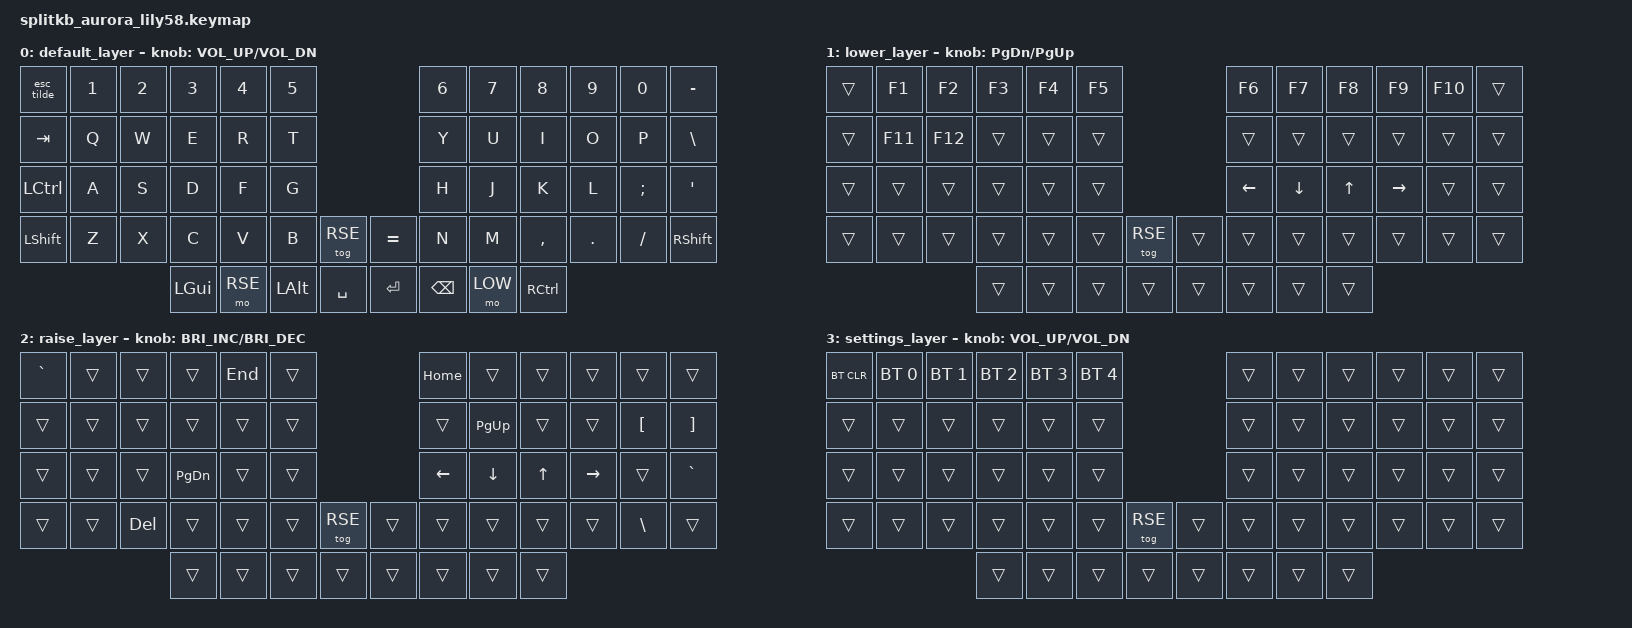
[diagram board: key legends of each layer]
/*
 * Copyright (c) 2020 The ZMK Contributors
 *
 * SPDX-License-Identifier: MIT
 */

#include <behaviors.dtsi>
#include <dt-bindings/zmk/keys.h>
#include <dt-bindings/zmk/bt.h>
#include <dt-bindings/zmk/ext_power.h>

// layers
#define DEF 0
#define LOW 1
#define RSE 2

/ { 
    behaviors {
        esc_tilde: esc_tilde {
            compatible = "zmk,behavior-mod-morph";
            label = "ESC_TILDE";
            #binding-cells = <0>;
            bindings = <&kp ESC>, <&kp TILDE>;
            mods = <(MOD_LSFT|MOD_RSFT)>;
        };
//        bspc_del: bspc_del {
//            compatible = "zmk,behavior-mod-morph";
//            label = "BSPC_DEL";
//            #binding-cells = <0>;
//            bindings = <&kp BSPC>, <&kp DEL>;
//            mods = <(MOD_LALT)>;
//        };
    };

    conditional_layers {
        compatible = "zmk,conditional-layers";
        settings_layer {
            if-layers = <1 2>;
            then-layer = <3>;
        };
    };

    keymap {
        compatible = "zmk,keymap";
        default_layer {
// ------------------------------------------------------------------------------------------------------------
// |ESC/TILDE |  1  |  2  |  3   |  4   |  5   |                   |  6   |  7    |  8    |  9   |   0   |     |
// |  TAB     |  Q  |  W  |  E   |  R   |  T   |                   |  Y   |  U    |  I    |  O   |   P   |     |
// |  SHIFT   |  A  |  S  |  D   |  F   |  G   |                   |  H   |  J    |  K    |  L   |   ;   |     |
// |  CTRL    |  Z  |  X  |  C   |  V   |  B   |   "["  |  |  "]"  |  N   |  M    |  ,    |  .   |   /   |     |
//                        | GUI  | ALT  | SPACE|  RAISE |  | LOWER | ENTER| BSPC  | GUI   |
            bindings = <
&esc_tilde &kp N1 &kp N2 &kp N3   &kp N4    &kp N5                        &kp N6     &kp N7  &kp N8    &kp N9  &kp N0   &kp MINUS
&kp TAB    &kp Q  &kp W  &kp E    &kp R     &kp T                         &kp Y      &kp U   &kp I     &kp O   &kp P    &kp BSLH
&kp LCTRL  &kp A  &kp S  &kp D    &kp F     &kp G                         &kp H      &kp J   &kp K     &kp L   &kp SEMI &kp SQT
&kp LSHFT  &kp Z  &kp X  &kp C    &kp V     &kp B    &tog RSE   &kp EQUAL &kp N      &kp M   &kp COMMA &kp DOT &kp FSLH &kp RSHIFT
                         &kp LGUI &mo RSE   &kp LALT &kp SPACE  &kp RET   &kp BSPC   &mo LOW &kp RCTRL
            >;
            sensor-bindings = <&inc_dec_kp C_VOL_UP C_VOL_DN>;
        };

        lower_layer {
// ------------------------------------------------------------------------------------------------------------
// |      |  F0 |  F2 |  F3  |  F4  |  F5  |                    |  F6  |  F7   |  F8   |  F9  |  F10  |       |
// |      | F10 | F12 |      |      |      |                    |      |       |       |      |       |       |
// |      |     |     |      |      |      |                    |      |       |       |      |       |       |
// |      |     |     |      |      |      |        |  |        |      |       |       |      |       |       |
//                    |      |      |      |        |  |        |      |       |       |
            bindings = <
&trans   &kp F1    &kp F2    &kp F3  &kp F4   &kp F5                    &kp F6    &kp F7   &kp F8   &kp F9    &kp F10   &trans
&trans   &kp F11   &kp F12   &trans  &trans   &trans                    &trans    &trans   &trans   &trans    &trans    &trans
&trans   &trans    &trans    &trans  &trans   &trans                    &kp LEFT  &kp DOWN &kp UP   &kp RIGHT &trans    &trans
&trans   &trans    &trans    &trans  &trans   &trans  &tog RSE &trans   &trans    &trans   &trans   &trans    &trans    &trans
                             &trans  &trans   &trans  &trans   &trans   &trans    &trans   &trans
            >;
            sensor-bindings = <&inc_dec_kp PG_DN PG_UP>;
        };

        raise_layer {
// ------------------------------------------------------------------------------------------------------------
// |       |     |     |      |      |      |                   |      |       |       |      |       |       |
// |       |     |     |      |      |      |                   |      |       |       |      |       |       |
// |       |     |     |      |      |      |                   |  <-  |   v   |   ^   |  ->  |       |       |
// |       |     |     |      |      |      |        |  |       |      |       |       |      |       |       |
//                     |      |      |      |        |  |       |      |       |       |
            bindings = <
&kp GRAVE &trans  &trans  &trans    &kp END &trans                     &kp HOME   &trans    &trans    &trans    &trans    &trans 
&trans    &trans  &trans  &trans    &trans  &trans                     &trans     &kp PG_UP &trans    &trans    &kp LBKT  &kp RBKT 
&trans    &trans  &trans  &kp PG_DN &trans  &trans                     &kp LEFT   &kp DOWN  &kp UP    &kp RIGHT &trans    &kp GRAVE
&trans    &trans  &kp DEL &trans    &trans  &trans  &tog RSE &trans    &trans     &trans    &trans    &trans    &kp BSLH  &trans
                          &trans    &trans  &trans  &trans   &trans    &trans     &trans    &trans   
            >;
            sensor-bindings = <&inc_dec_kp C_BRI_INC C_BRI_DEC>;
        };

        settings_layer {
// ------------------------------------------------------------------------------------------------------------
// |      |  F0 |  F2 |  F3  |  F4  |  F5  |                    |  F6  |  F7   |  F8   |  F9  |  F10  |       |
// |      | F10 | F12 |      |      |      |                    |      |       |       |      |       |       |
// |      |     |     |      |      |      |                    |      |       |       |      |       |       |
// |      |     |     |      |      |      |        |  |        |      |       |       |      |       |       |
//                    |      |      |      |        |  |        |      |       |       |
            bindings = <
&bt BT_CLR  &bt BT_SEL 0  &bt BT_SEL 1  &bt BT_SEL 2 &bt BT_SEL 3 &bt BT_SEL 4                   &trans    &trans   &trans   &trans    &trans    &trans
&trans      &trans        &trans        &trans       &trans       &trans                         &trans    &trans   &trans   &trans    &trans    &trans
&trans      &trans        &trans        &trans       &trans       &trans                         &trans    &trans   &trans   &trans    &trans    &trans
&trans      &trans        &trans        &trans       &trans       &trans       &tog RSE  &trans  &trans    &trans   &trans   &trans    &trans    &trans
                                        &trans       &trans       &trans       &trans    &trans  &trans    &trans   &trans
            >;
            sensor-bindings = <&inc_dec_kp C_VOL_UP C_VOL_DN>;
        };

    };
};
